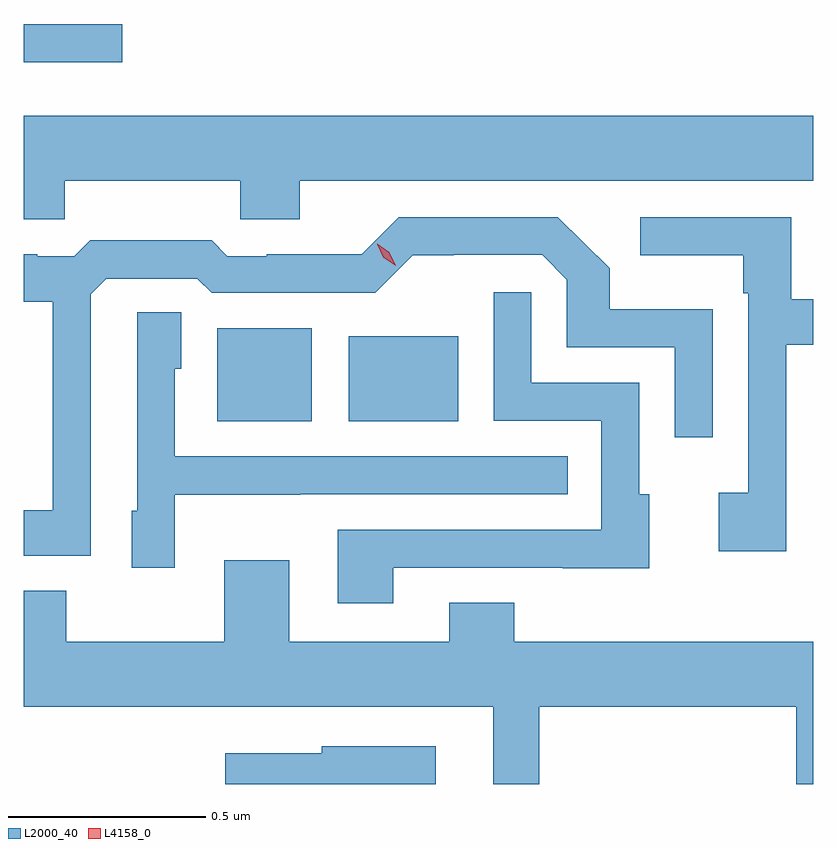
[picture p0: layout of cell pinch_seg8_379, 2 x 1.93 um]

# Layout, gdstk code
import gdstk
lib = gdstk.Library(unit=1e-6, precision=1e-09)
def R(c, l, rs):  # rectangles x0, y0, x1, y1
    for r in rs: c.add(gdstk.rectangle(r[:2], r[2:], *l))
def P(c, l, *ps):  # polygons
    for p in ps: c.add(gdstk.Polygon(p, *l))
L2000_40 = (2000, 40)
L4158_0 = (4158, 0)

pinch_seg8_379 = lib.new_cell('pinch_seg8_379')
R(pinch_seg8_379, L2000_40, [(402.191,1105.235,402.43,1105.471), (402.524,1105.235,402.802,1105.45), (401.701,1106.144,401.95,1106.241)])
P(pinch_seg8_379, L2000_40, [(401.805,1105.844),(402.25,1105.844),(402.25,1105.746),(402.4,1105.746),(402.4,1105.844),(403.701,1105.844),(403.701,1106.008),(401.701,1106.008),(401.701,1105.746),(401.805,1105.746)],
  [(403.633,1105.428),(403.701,1105.428),(403.701,1105.544),(403.645,1105.544),(403.645,1105.752),(403.263,1105.752),(403.263,1105.655),(403.524,1105.655),(403.524,1105.559),(403.536,1105.559),(403.536,1105.054),(403.461,1105.054),(403.461,1104.906),(403.633,1104.906)],
  [(401.871,1105.557),(401.91,1105.596),(402.141,1105.596),(402.177,1105.56),(402.591,1105.56),(402.686,1105.655),(402.79,1105.655),(402.79,1105.656),(403.014,1105.656),(403.077,1105.593),(403.077,1105.422),(403.35,1105.422),(403.35,1105.194),(403.446,1105.194),(403.446,1105.519),(403.185,1105.519),(403.185,1105.622),(403.054,1105.752),(402.651,1105.752),(402.557,1105.658),(402.316,1105.658),(402.316,1105.653),(402.216,1105.653),(402.177,1105.693),(401.869,1105.693),(401.829,1105.653),(401.735,1105.653),(401.735,1105.658),(401.701,1105.658),(401.701,1105.538),(401.774,1105.538),(401.774,1105.01),(401.701,1105.01),(401.701,1104.894),(401.871,1104.894)],
  [(402.637,1104.864),(403.067,1104.864),(403.067,1104.863),(403.285,1104.863),(403.285,1105.05),(403.26,1105.05),(403.26,1105.332),(402.987,1105.332),(402.987,1105.561),(402.891,1105.561),(402.891,1105.236),(403.164,1105.236),(403.164,1104.96),(402.497,1104.96),(402.497,1104.774),(402.637,1104.774)],
  [(402.084,1105.049),(402.401,1105.049),(402.401,1105.05),(403.079,1105.05),(403.079,1105.146),(402.084,1105.146),(402.084,1105.368),(402.1,1105.368),(402.1,1105.511),(401.988,1105.511),(401.988,1105.008),(401.975,1105.008),(401.975,1104.864),(402.084,1104.864)],
  [(403.007,1104.512),(403.658,1104.512),(403.658,1104.316),(403.701,1104.316),(403.701,1104.676),(402.943,1104.676),(402.943,1104.775),(402.779,1104.775),(402.779,1104.676),(402.373,1104.676),(402.373,1104.883),(402.209,1104.883),(402.209,1104.676),(401.809,1104.676),(401.809,1104.805),(401.701,1104.805),(401.701,1104.512),(402.89,1104.512),(402.89,1104.316),(403.007,1104.316)],
  [(402.745,1104.412),(402.456,1104.412),(402.456,1104.394),(402.211,1104.394),(402.211,1104.316),(402.745,1104.316)])
P(pinch_seg8_379, L4158_0, [(402.644,1105.629),(402.612,1105.65),(402.596,1105.683),(402.596,1105.684),(402.596,1105.684),(402.627,1105.663),(402.644,1105.63),(402.644,1105.629)])

lib.write_gds('pinch_seg8_379.gds')
